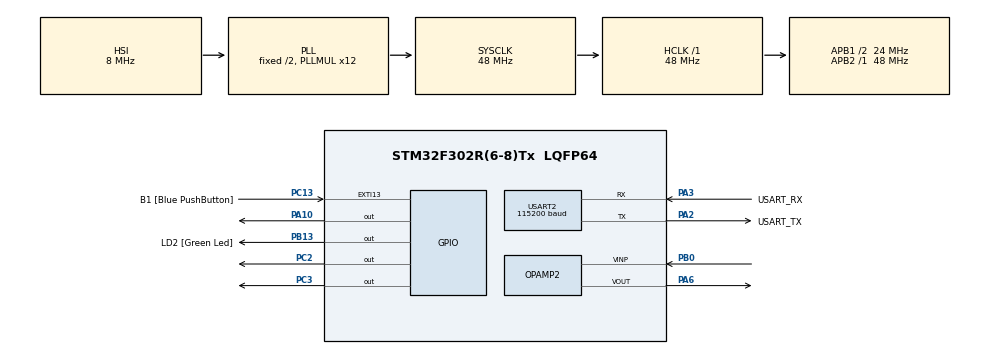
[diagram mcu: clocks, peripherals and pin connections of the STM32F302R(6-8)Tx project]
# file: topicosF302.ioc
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ADC1.Channel-0\#ChannelRegularConversion=ADC_CHANNEL_10
ADC1.ContinuousConvMode=DISABLE
ADC1.DMAContinuousRequests=DISABLE
ADC1.ExternalTrigConv=ADC_EXTERNALTRIGCONV_T1_TRGO
ADC1.NbrOfConversionFlag=1
ADC1.Offset-0\#ChannelRegularConversion=0
ADC1.OffsetNumber-0\#ChannelRegularConversion=ADC_OFFSET_NONE
ADC1.Rank-0\#ChannelRegularConversion=1
ADC1.SamplingTime-0\#ChannelRegularConversion=ADC_SAMPLETIME_19CYCLES_5
ADC1.SubFamily=STM32F302x8
ADC1.master=1
Dma.ADC1.0.Direction=DMA_PERIPH_TO_MEMORY
Dma.ADC1.0.Instance=DMA1_Channel1
Dma.ADC1.0.MemDataAlignment=DMA_MDATAALIGN_HALFWORD
Dma.ADC1.0.MemInc=DMA_MINC_ENABLE
Dma.ADC1.0.Mode=DMA_NORMAL
Dma.ADC1.0.PeriphDataAlignment=DMA_PDATAALIGN_HALFWORD
Dma.ADC1.0.PeriphInc=DMA_PINC_DISABLE
Dma.ADC1.0.Priority=DMA_PRIORITY_LOW
Dma.Request0=ADC1
Mcu.Family=STM32F3
Mcu.Name=STM32F302R(6-8)Tx
Mcu.Package=LQFP64
NVIC.DMA1_Channel1_IRQn=true\:0\:0\:false\:false\:true\:false\:true\:true
NVIC.PriorityGroup=NVIC_PRIORITYGROUP_0
NVIC.TIM2_IRQn=true\:0\:0\:false\:false\:true\:true\:true\:true
NVIC.USART2_IRQn=true\:0\:0\:false\:false\:true\:true\:true\:true
PA10.GPIO_Speed=GPIO_SPEED_FREQ_HIGH
PA10.PinState=GPIO_PIN_RESET
PA10.Signal=GPIO_Output
PA13.GPIO_Label=TMS
PA13.Mode=Serial_Wire
PA13.Signal=SYS_JTMS-SWDIO
PA14.GPIO_Label=TCK
PA14.Mode=Serial_Wire
PA14.Signal=SYS_JTCK-SWCLK
PA2.GPIO_Label=USART_TX
PA2.GPIO_Mode=GPIO_MODE_AF_PP
PA2.GPIO_PuPd=GPIO_NOPULL
PA2.GPIO_Speed=GPIO_SPEED_FREQ_LOW
PA2.Mode=Asynchronous
PA2.Signal=USART2_TX
PA3.GPIO_Label=USART_RX
PA3.GPIO_Mode=GPIO_MODE_AF_PP
PA3.GPIO_PuPd=GPIO_NOPULL
PA3.GPIO_Speed=GPIO_SPEED_FREQ_LOW
PA3.Mode=Asynchronous
PA3.Signal=USART2_RX
PA6.Mode=Follower
PA6.Signal=OPAMP2_VOUT
PB0.Mode=Follower
PB0.Signal=OPAMP2_VINP
PB13.GPIO_Label=LD2 [Green Led]
PB13.Signal=GPIO_Output
PB3.GPIO_Label=SWO
PB3.Mode=Trace_Asynchronous_SW
PB3.Signal=SYS_JTDO-TRACESWO
PC13.GPIO_Label=B1 [Blue PushButton]
PC13.GPIO_ModeDefaultEXTI=GPIO_MODE_IT_FALLING
PC13.Signal=GPXTI13
PC14\ -\ OSC32_IN.Mode=LSE-External-Oscillator
PC14\ -\ OSC32_IN.Signal=RCC_OSC32_IN
PC15\ -\ OSC32_OUT.Mode=LSE-External-Oscillator
PC15\ -\ OSC32_OUT.Signal=RCC_OSC32_OUT
PC2.GPIO_Speed=GPIO_SPEED_FREQ_HIGH
PC2.Signal=GPIO_Output
PC3.GPIO_Speed=GPIO_SPEED_FREQ_HIGH
PC3.Signal=GPIO_Output
PF0-OSC_IN.Mode=HSE-External-Clock-Source
PF0-OSC_IN.Signal=RCC_OSC_IN
PF1-OSC_OUT.Signal=RCC_OSC_OUT
ProjectManager.HeapSize=0x200
ProjectManager.StackSize=0x400
ProjectManager.TargetToolchain=STM32CubeIDE
RCC.AHBFreq_Value=48000000
RCC.APB1CLKDivider=RCC_HCLK_DIV2
RCC.APB1Freq_Value=24000000
RCC.APB1TimFreq_Value=48000000
RCC.APB2Freq_Value=48000000
RCC.APB2TimFreq_Value=48000000
RCC.CortexFreq_Value=48000000
RCC.HCLKFreq_Value=48000000
RCC.HSE_VALUE=8000000
RCC.HSI_VALUE=8000000
RCC.PLLM=8
RCC.PLLMUL=RCC_PLL_MUL12
RCC.PLLN=336
RCC.PLLP=RCC_PLLP_DIV4
RCC.PLLQ=7
RCC.SYSCLKFreq_VALUE=48000000
RCC.SYSCLKSourceVirtual=RCC_SYSCLKSOURCE_PLLCLK
RCC.USBFreq_Value=48000000
TIM1.AutoReloadPreload=TIM_AUTORELOAD_PRELOAD_DISABLE
TIM1.Period=399
TIM1.Prescaler=1
TIM1.TIM_MasterOutputTrigger=TIM_TRGO_UPDATE
TIM2.Period=999
TIM2.Prescaler=47
USART2.BaudRate=115200
USART2.VirtualMode-Asynchronous=VM_ASYNC
VP_ADC1_OPAMP_OUT2.Mode=IN10-OPAMP2-Single-Ended
VP_TIM1_VS_ClockSourceINT.Mode=Internal
VP_TIM2_VS_ClockSourceINT.Mode=Internal
board=NUCLEO-F302R8

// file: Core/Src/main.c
/* USER CODE BEGIN Header */
/**
  ******************************************************************************
  * @file           : main.c
  * @brief          : Main program body
  ******************************************************************************
  * @attention
  *
  * Copyright (c) 2024 STMicroelectronics.
  * All rights reserved.
  *
  * This software is licensed under terms that can be found in the LICENSE file
  * in the root directory of this software component.
  * If no LICENSE file comes with this software, it is provided AS-IS.
  *
  ******************************************************************************
  */
/* USER CODE END Header */
#include "main.h"

/* USER CODE BEGIN Includes */
#include "string.h"
/* USER CODE END Includes */

ADC_HandleTypeDef hadc1;
DMA_HandleTypeDef hdma_adc1;

OPAMP_HandleTypeDef hopamp2;

TIM_HandleTypeDef htim1;
TIM_HandleTypeDef htim2;

UART_HandleTypeDef huart2;

/* USER CODE BEGIN PV */
typedef enum {ACSINE_CHK, BAT_CHK, PANEL_CHK}StateMachine_CHECK;
StateMachine_CHECK State_CHECK;

#define LEN_BUFFER 1000
volatile uint16_t adcBuffer[LEN_BUFFER];
volatile int BATBuffer, PANELBuffer;
volatile uint8_t DMA_FLAG;
volatile uint8_t CONV_START;
volatile uint16_t VMAX;
volatile uint8_t REG_STATUS = 0x0;
int ACSINE_VMIN = 3350;
int ACSINE_VMAX = 3860;
int BAT_VMIN = 2000;
int PANEL_VMIN = 2500;

typedef enum{AC, BAT, PANEL, NC}StateMachine_POWER;
StateMachine_POWER State_POWER = NC;

typedef enum{PRESET_1, PRESET_2, PRESET_3, PRESET_4, PRESET_5, PRESET_6}StateMachine_PRESET;
StateMachine_PRESET State_PRESET;
#define AC_AVAILABLE     (REG_STATUS & (1 << 0))  // Verifica se o bit 0 indica AC disponível
#define BAT_AVAILABLE    (REG_STATUS & (1 << 1))  // Verifica se o bit 1 indica Bateria disponível
#define PANEL_AVAILABLE  (REG_STATUS & (1 << 2))  // Verifica se o bit 2 indica Painel disponível

volatile int SW_Time;

typedef enum{IDLE, DBC, PRES}StateMachine_BUTTON;
StateMachine_BUTTON State_BUTTON;
#define READ_BUTTON (GPIOC->IDR &(1 << 13))
volatile uint8_t BUTTON_Time;
uint8_t POWER_Control;

/* USER CODE END PV */

void SystemClock_Config(void);
static void MX_GPIO_Init(void);
static void MX_DMA_Init(void);
static void MX_USART2_UART_Init(void);
static void MX_ADC1_Init(void);
static void MX_TIM1_Init(void);
static void MX_OPAMP2_Init(void);
static void MX_TIM2_Init(void);

/* USER CODE BEGIN 0 */

//volatile uint16_t index_buffer = 0;
char rxBuffer[50];
//char uartBuffer[10000];
//int length = 0;
void HAL_UART_RxCpltCallback(UART_HandleTypeDef *huart);
int preset;
int vmin_ac, vmax_ac, vmin_bat;
int dados;
void HAL_UART_RxCpltCallback(UART_HandleTypeDef *huart) {
	if (huart->Instance == USART2) {
		// Usa sscanf para extrair os dados formatados da string
		  dados = sscanf(rxBuffer, "%d-%d-%d-%d", &preset, &vmin_ac, &vmax_ac, &vmin_bat);
		  if(dados == 4){
			  State_PRESET = preset;
			  ACSINE_VMIN = vmin_ac;
			  ACSINE_VMAX = vmax_ac;
			  BAT_VMIN = vmin_bat;
		  }
		// Agora as variáveis preset, vmin_ac, vmax_ac e vmin_bat contêm os valores
		// Reinicia a recepção de 3 bytes pela UART em modo de interrupção
		}
		HAL_UART_Receive_IT(&huart2, rxBuffer, 19);
	}

/*
void HAL_UART_RxCpltCallback(UART_HandleTypeDef *huart) {
    if (huart->Instance == USART2) {
        if (rxBuffer[0] == '#' && rxBuffer[1] == 'B' && rxBuffer[2] == '.') {
            // Converter os valores do vetor para uma string com índices
            int length = 0;
            for (int i = 0; i < LEN_BUFFER; i++) {
                length += sprintf(&uartBuffer[length], "%d\r\n", adcBuffer[i]);
            }

            // Transmitir a string via UART
            HAL_UART_Transmit(&huart2, (uint8_t*)uartBuffer, length, HAL_MAX_DELAY);
        }
        length = 0;
        // Reinicia a recepção de 3 bytes pela UART em modo de interrupção
        HAL_UART_Receive_IT(&huart2, rxBuffer, 3);
    }
}
*/
/* USER CODE END 0 */

int main(void)
{

  /* MCU Configuration--------------------------------------------------------*/

  /* Reset of all peripherals, Initializes the Flash interface and the Systick. */
  HAL_Init();

  /* Configure the system clock */
  SystemClock_Config();

  /* Initialize all configured peripherals */
  MX_GPIO_Init();
  MX_DMA_Init();
  MX_USART2_UART_Init();
  MX_ADC1_Init();
  MX_TIM1_Init();
  MX_OPAMP2_Init();
  MX_TIM2_Init();
  /* USER CODE BEGIN 2 */
  HAL_TIM_Base_Start(&htim1);
  HAL_OPAMP_Start(&hopamp2);
  HAL_ADC_Start_DMA (&hadc1, (uint32_t*)adcBuffer, LEN_BUFFER); // Inicia o DMA.
  HAL_UART_Receive_IT(&huart2, rxBuffer, 19);
  GPIOB->MODER |= (0b11 << 28);
  GPIOA->MODER |= (0b11 << 14);

  GPIOA->ODR |= (1 << 10); // Configura os pinos como 1
  GPIOB->ODR |= (1 << 3);  //pois estao em dreno aberto
  GPIOB->ODR |= (1 << 5);
  GPIOA->OSPEEDR |= (0b11 << 20); // PA10 em 50MHz
  GPIOA->MODER |= (1 << 20); // PA10 como saida
  GPIOA->OTYPER |= (1 << 10); // PA10 Dreno Aberto

  GPIOB->OSPEEDR |= (0b11 << 6); // PB3 em 50MHz
  GPIOB->MODER &= ~(1 << 7);
  GPIOB->MODER |= (1 << 6); // PB3 como saida
  GPIOB->OTYPER |= (1 << 3); // PB3 dreno aberto

  GPIOB->OSPEEDR |= (0b11 << 10); //PB5 em 50MHz
  GPIOB->MODER |= (1 << 10); // PB5 como saida
  GPIOB->OTYPER |= (1 << 5); // PB5 Dreno Aberto

  GPIOB->OSPEEDR |= (0b11 << 26); // Configura a saida do LED
  GPIOB->MODER |= (1 << 26); // Coloca saida como Push-Pull

  GPIOC->MODER &= ~(0b11 << 26);
  GPIOC->PUPDR &= ~(0b11 << 26);
  GPIOC->PUPDR |= (1 << 26);
  GPIOC->ODR |= (1 << 13);

  HAL_TIM_Base_Start(&htim2);
  NVIC_EnableIRQ(TIM2_IRQn);
  TIM2->DIER |= (1 << 0);
  /* USER CODE END 2 */

  /* Infinite loop */
  /* USER CODE BEGIN WHILE */
  while (1)
  {
	  /* Pagina 438 Datasheet
	   * Entradas do VIP do OPAMP2:
	   * PB0 (VP2 -> 10) - Entrada AC
	   * PA7 (VP0 -> 11) - Entrada Bateria
	   * PB14 (VP3-> 01) - Entrada Painel
	   * Configuração do OPAMP2 feita pelo: OPAMP2_CSR
	   */
	  switch(State_CHECK){
	  case ACSINE_CHK: // PB0 (VP2 -> 10) - Entrada AC
		  if(CONV_START){
			  CONV_START = 0;
			  OPAMP2->CSR |= (1 << 3);
			  OPAMP2->CSR &= ~(1 << 2);
			  DMA_FLAG=0;
			  HAL_ADC_Start_DMA(&hadc1, (uint32_t*)adcBuffer, LEN_BUFFER); // Inicia uma nova amostragem
		  }
		  if(DMA_FLAG==2){ // O FLAG de controle deve ser igual a 2 porque a ISR é chamada na metade e no fim do buffer.
			  DMA_FLAG = 0;
			  //VMAX=0;
			  int VMAX_temp = 0;
			  for(int x = 0; x < LEN_BUFFER; x++){
				  if(VMAX_temp < adcBuffer[x]) VMAX_temp = adcBuffer[x];
			  }
			  if(VMAX_temp > ACSINE_VMIN && VMAX_temp < ACSINE_VMAX){
				  REG_STATUS |= (1 << 0);
				  GPIOB->ODR |= (1 << 13); // Acende o LED se o status for 1
			  }
			  else {
				  REG_STATUS &= ~(1 << 0);
				  GPIOB->ODR &= ~(1 << 13); // Apaga o LED se o status for 0
				  SW_Time = 5000;
			  }
			  VMAX = VMAX_temp;
			  State_CHECK=BAT_CHK;
			  HAL_ADC_Stop_DMA(&hadc1);
			  //ADC1->CR2 &= ~ADC1_CR2_DMA;
			  CONV_START=1; //Configura o flag para iniciar a conversão do prox estado.
		  }
		  break;
	  case BAT_CHK: // PA7 (VP0 -> 11) - Entrada Bateria
		  if(CONV_START){
		  	  CONV_START = 0;
		  	  OPAMP2->CSR |= (1 << 2);
		  	  OPAMP2->CSR |= (1 << 3);
		  	  HAL_ADC_Start(&hadc1);
		  	  HAL_ADC_PollForConversion(&hadc1, 100); // poll for conversion
		  	  BATBuffer = HAL_ADC_GetValue(&hadc1); // get the adc value
		  	  if(BATBuffer > BAT_VMIN) REG_STATUS |= (1 << 1);
		  	  else REG_STATUS &= ~(1 << 1);
		  	  State_CHECK = PANEL_CHK;
		  	  CONV_START = 1;
		  }
		  break;
	  case PANEL_CHK: // PB14 (VP3-> 01) - Entrada Painel
		  if(CONV_START){
		      CONV_START = 0;
		      OPAMP2->CSR &= ~(1 << 3);
		      OPAMP2->CSR |= (1 << 2);
		      HAL_ADC_PollForConversion(&hadc1, 100); // poll for conversion
		      PANELBuffer = HAL_ADC_GetValue(&hadc1); // get the adc value
		      if(PANELBuffer > PANEL_VMIN) REG_STATUS |= (1 << 2);
		      else REG_STATUS &= ~(1 << 2);
		      HAL_ADC_Stop(&hadc1);
		      State_CHECK = ACSINE_CHK;
		      CONV_START = 1;
		  }
		  break;
	  }

	  switch(State_POWER){
	  case AC:
		  // Pino PA10
		  GPIOB->ODR |= (1 << 3);
		  GPIOB->ODR |= (1 << 5);
		  GPIOA->ODR &= ~(1 << 10);
		  break;
	  case BAT:
		  // Pino PB3
		  GPIOB->ODR |= (1 << 5);
		  GPIOA->ODR |= (1 << 10);
		  GPIOB->ODR &= ~(1 << 3);
		  break;
	  case PANEL:
		  // Pino PB5
		  GPIOB->ODR |= (1 << 3);
		  GPIOA->ODR |= (1 << 10);
		  GPIOB->ODR &= ~(1 << 5);
		  break;
	  case NC:
		  GPIOA->ODR |= (1 << 10);
		  GPIOB->ODR |= (1 << 3);
		  GPIOB->ODR |= (1 << 5);
		  break;
	  }
	  if(POWER_Control){
	  switch (State_PRESET) {
	      case PRESET_1:  // AC > BAT > PANEL > NC
	          if (AC_AVAILABLE && SW_Time == 0) {
	              State_POWER = AC;
	          } else if (BAT_AVAILABLE) {
	              State_POWER = BAT;
	          } else if (PANEL_AVAILABLE) {
	              State_POWER = PANEL;
	          } else {
	              State_POWER = NC;  // Nenhuma fonte disponível
	          }
	          break;

	      case PRESET_2:  // AC > PANEL > BAT
	          if (AC_AVAILABLE && SW_Time == 0) {
	              State_POWER = AC;
	          } else if (PANEL_AVAILABLE) {
	              State_POWER = PANEL;
	          } else if (BAT_AVAILABLE) {
	              State_POWER = BAT;
	          } else {
	              State_POWER = NC;  // Nenhuma fonte disponível
	          }
	          break;

	      case PRESET_3:  // BAT > AC > PANEL
	          if (BAT_AVAILABLE) {
	              State_POWER = BAT;
	          } else if (AC_AVAILABLE && SW_Time == 0) {
	              State_POWER = AC;
	          } else if (PANEL_AVAILABLE) {
	              State_POWER = PANEL;
	          } else {
	              State_POWER = NC;  // Nenhuma fonte disponível
	          }
	          break;

	      case PRESET_4:  // BAT > PANEL > AC
	          if (BAT_AVAILABLE) {
	              State_POWER = BAT;
	          } else if (PANEL_AVAILABLE) {
	              State_POWER = PANEL;
	          } else if (AC_AVAILABLE && SW_Time == 0) {
	              State_POWER = AC;
	          } else {
	              State_POWER = NC;  // Nenhuma fonte disponível
	          }
	          break;

	      case PRESET_5:  // PANEL > AC > BAT
	          if (PANEL_AVAILABLE) {
	              State_POWER = PANEL;
	          } else if (AC_AVAILABLE && SW_Time == 0) {
	              State_POWER = AC;
	          } else if (BAT_AVAILABLE) {
	              State_POWER = BAT;
	          } else {
	              State_POWER = NC;  // Nenhuma fonte disponível
	          }
	          break;

	      case PRESET_6:  // PANEL > BAT > AC
	          if (PANEL_AVAILABLE) {
	              State_POWER = PANEL;
	          } else if (BAT_AVAILABLE) {
	              State_POWER = BAT;
	          } else if (AC_AVAILABLE && SW_Time == 0) {
	              State_POWER = AC;
	          } else {
	              State_POWER = NC;  // Nenhuma fonte disponível
	          }
	          break;
	  }
	  }else{
		  State_POWER=NC;
	  }

	  switch(State_BUTTON){
	  case IDLE:
		  if(READ_BUTTON==0){
			  BUTTON_Time = 40;
			  State_BUTTON = DBC;
		  }
		  break;
	  case DBC:
		  if(BUTTON_Time == 0){
			  if(READ_BUTTON == 0){
				  State_BUTTON = PRES;
				  POWER_Control = !POWER_Control;
			  }else{
				  State_BUTTON = IDLE;
			  }
		  }
		  break;
	  case PRES:
		  if(READ_BUTTON){
			  State_BUTTON = IDLE;
		  }
		  break;
	  }
    /* USER CODE END WHILE */

  }
}

void SystemClock_Config(void)
{
  RCC_OscInitTypeDef RCC_OscInitStruct = {0};
  RCC_ClkInitTypeDef RCC_ClkInitStruct = {0};
  RCC_PeriphCLKInitTypeDef PeriphClkInit = {0};

  /** Initializes the RCC Oscillators according to the specified parameters
  * in the RCC_OscInitTypeDef structure.
  */
  RCC_OscInitStruct.OscillatorType = RCC_OSCILLATORTYPE_HSI;
  RCC_OscInitStruct.HSIState = RCC_HSI_ON;
  RCC_OscInitStruct.HSICalibrationValue = RCC_HSICALIBRATION_DEFAULT;
  RCC_OscInitStruct.PLL.PLLState = RCC_PLL_ON;
  RCC_OscInitStruct.PLL.PLLSource = RCC_PLLSOURCE_HSI;
  RCC_OscInitStruct.PLL.PLLMUL = RCC_PLL_MUL12;
  if (HAL_RCC_OscConfig(&RCC_OscInitStruct) != HAL_OK)
  {
    Error_Handler();
  }

  /** Initializes the CPU, AHB and APB buses clocks
  */
  RCC_ClkInitStruct.ClockType = RCC_CLOCKTYPE_HCLK|RCC_CLOCKTYPE_SYSCLK
                              |RCC_CLOCKTYPE_PCLK1|RCC_CLOCKTYPE_PCLK2;
  RCC_ClkInitStruct.SYSCLKSource = RCC_SYSCLKSOURCE_PLLCLK;
  RCC_ClkInitStruct.AHBCLKDivider = RCC_SYSCLK_DIV1;
  RCC_ClkInitStruct.APB1CLKDivider = RCC_HCLK_DIV2;
  RCC_ClkInitStruct.APB2CLKDivider = RCC_HCLK_DIV1;

  if (HAL_RCC_ClockConfig(&RCC_ClkInitStruct, FLASH_LATENCY_1) != HAL_OK)
  {
    Error_Handler();
  }
  PeriphClkInit.PeriphClockSelection = RCC_PERIPHCLK_TIM1|RCC_PERIPHCLK_ADC1;
  PeriphClkInit.Tim1ClockSelection = RCC_TIM1CLK_HCLK;
  PeriphClkInit.Adc1ClockSelection = RCC_ADC1PLLCLK_DIV1;

  if (HAL_RCCEx_PeriphCLKConfig(&PeriphClkInit) != HAL_OK)
  {
    Error_Handler();
  }
}

static void MX_ADC1_Init(void)
{

  ADC_ChannelConfTypeDef sConfig = {0};

  /** Common config
  */
  hadc1.Instance = ADC1;
  hadc1.Init.ClockPrescaler = ADC_CLOCK_ASYNC_DIV1;
  hadc1.Init.Resolution = ADC_RESOLUTION_12B;
  hadc1.Init.ScanConvMode = ADC_SCAN_DISABLE;
  hadc1.Init.ContinuousConvMode = DISABLE;
  hadc1.Init.DiscontinuousConvMode = DISABLE;
  hadc1.Init.ExternalTrigConvEdge = ADC_EXTERNALTRIGCONVEDGE_RISING;
  hadc1.Init.ExternalTrigConv = ADC_EXTERNALTRIGCONV_T1_TRGO;
  hadc1.Init.DataAlign = ADC_DATAALIGN_RIGHT;
  hadc1.Init.NbrOfConversion = 1;
  hadc1.Init.DMAContinuousRequests = DISABLE;
  hadc1.Init.EOCSelection = ADC_EOC_SINGLE_CONV;
  hadc1.Init.LowPowerAutoWait = DISABLE;
  hadc1.Init.Overrun = ADC_OVR_DATA_OVERWRITTEN;
  if (HAL_ADC_Init(&hadc1) != HAL_OK)
  {
    Error_Handler();
  }

  /** Configure Regular Channel
  */
  sConfig.Channel = ADC_CHANNEL_10;
  sConfig.Rank = ADC_REGULAR_RANK_1;
  sConfig.SingleDiff = ADC_SINGLE_ENDED;
  sConfig.SamplingTime = ADC_SAMPLETIME_19CYCLES_5;
  sConfig.OffsetNumber = ADC_OFFSET_NONE;
  sConfig.Offset = 0;
  if (HAL_ADC_ConfigChannel(&hadc1, &sConfig) != HAL_OK)
  {
    Error_Handler();
  }

}

static void MX_OPAMP2_Init(void)
{

  hopamp2.Instance = OPAMP2;
  hopamp2.Init.Mode = OPAMP_FOLLOWER_MODE;
  hopamp2.Init.NonInvertingInput = OPAMP_NONINVERTINGINPUT_IO2;
  hopamp2.Init.TimerControlledMuxmode = OPAMP_TIMERCONTROLLEDMUXMODE_DISABLE;
  hopamp2.Init.UserTrimming = OPAMP_TRIMMING_FACTORY;
  if (HAL_OPAMP_Init(&hopamp2) != HAL_OK)
  {
    Error_Handler();
  }

}

static void MX_TIM1_Init(void)
{

  TIM_ClockConfigTypeDef sClockSourceConfig = {0};
  TIM_MasterConfigTypeDef sMasterConfig = {0};

  htim1.Instance = TIM1;
  htim1.Init.Prescaler = 1;
  htim1.Init.CounterMode = TIM_COUNTERMODE_UP;
  htim1.Init.Period = 399;
  htim1.Init.ClockDivision = TIM_CLOCKDIVISION_DIV1;
  htim1.Init.RepetitionCounter = 0;
  htim1.Init.AutoReloadPreload = TIM_AUTORELOAD_PRELOAD_DISABLE;
  if (HAL_TIM_Base_Init(&htim1) != HAL_OK)
  {
    Error_Handler();
  }
  sClockSourceConfig.ClockSource = TIM_CLOCKSOURCE_INTERNAL;
  if (HAL_TIM_ConfigClockSource(&htim1, &sClockSourceConfig) != HAL_OK)
  {
    Error_Handler();
  }
  sMasterConfig.MasterOutputTrigger = TIM_TRGO_UPDATE;
  sMasterConfig.MasterOutputTrigger2 = TIM_TRGO2_RESET;
  sMasterConfig.MasterSlaveMode = TIM_MASTERSLAVEMODE_DISABLE;
  if (HAL_TIMEx_MasterConfigSynchronization(&htim1, &sMasterConfig) != HAL_OK)
  {
    Error_Handler();
  }

}

static void MX_TIM2_Init(void)
{

  TIM_ClockConfigTypeDef sClockSourceConfig = {0};
  TIM_MasterConfigTypeDef sMasterConfig = {0};

  htim2.Instance = TIM2;
  htim2.Init.Prescaler = 47;
  htim2.Init.CounterMode = TIM_COUNTERMODE_UP;
  htim2.Init.Period = 999;
  htim2.Init.ClockDivision = TIM_CLOCKDIVISION_DIV1;
  htim2.Init.AutoReloadPreload = TIM_AUTORELOAD_PRELOAD_DISABLE;
  if (HAL_TIM_Base_Init(&htim2) != HAL_OK)
  {
    Error_Handler();
  }
  sClockSourceConfig.ClockSource = TIM_CLOCKSOURCE_INTERNAL;
  if (HAL_TIM_ConfigClockSource(&htim2, &sClockSourceConfig) != HAL_OK)
  {
    Error_Handler();
  }
  sMasterConfig.MasterOutputTrigger = TIM_TRGO_RESET;
  sMasterConfig.MasterSlaveMode = TIM_MASTERSLAVEMODE_DISABLE;
  if (HAL_TIMEx_MasterConfigSynchronization(&htim2, &sMasterConfig) != HAL_OK)
  {
    Error_Handler();
  }

}

static void MX_USART2_UART_Init(void)
{

  huart2.Instance = USART2;
  huart2.Init.BaudRate = 115200;
  huart2.Init.WordLength = UART_WORDLENGTH_8B;
  huart2.Init.StopBits = UART_STOPBITS_1;
  huart2.Init.Parity = UART_PARITY_NONE;
  huart2.Init.Mode = UART_MODE_TX_RX;
  huart2.Init.HwFlowCtl = UART_HWCONTROL_NONE;
  huart2.Init.OverSampling = UART_OVERSAMPLING_16;
  huart2.Init.OneBitSampling = UART_ONE_BIT_SAMPLE_DISABLE;
  huart2.AdvancedInit.AdvFeatureInit = UART_ADVFEATURE_NO_INIT;
  if (HAL_UART_Init(&huart2) != HAL_OK)
  {
    Error_Handler();
  }

}

static void MX_DMA_Init(void)
{

  /* DMA controller clock enable */
  __HAL_RCC_DMA1_CLK_ENABLE();

  /* DMA interrupt init */
  /* DMA1_Channel1_IRQn interrupt configuration */
  HAL_NVIC_SetPriority(DMA1_Channel1_IRQn, 0, 0);
  HAL_NVIC_EnableIRQ(DMA1_Channel1_IRQn);

}

static void MX_GPIO_Init(void)
{
  GPIO_InitTypeDef GPIO_InitStruct = {0};

  /* GPIO Ports Clock Enable */
  __HAL_RCC_GPIOC_CLK_ENABLE();
  __HAL_RCC_GPIOF_CLK_ENABLE();
  __HAL_RCC_GPIOA_CLK_ENABLE();
  __HAL_RCC_GPIOB_CLK_ENABLE();

  /*Configure GPIO pin Output Level */
  HAL_GPIO_WritePin(GPIOC, GPIO_PIN_2|GPIO_PIN_3, GPIO_PIN_RESET);

  /*Configure GPIO pin Output Level */
  HAL_GPIO_WritePin(LD2_GPIO_Port, LD2_Pin, GPIO_PIN_RESET);

  /*Configure GPIO pin Output Level */
  HAL_GPIO_WritePin(GPIOA, GPIO_PIN_10, GPIO_PIN_RESET);

  /*Configure GPIO pin : B1_Pin */
  GPIO_InitStruct.Pin = B1_Pin;
  GPIO_InitStruct.Mode = GPIO_MODE_IT_FALLING;
  GPIO_InitStruct.Pull = GPIO_NOPULL;
  HAL_GPIO_Init(B1_GPIO_Port, &GPIO_InitStruct);

  /*Configure GPIO pins : PC2 PC3 */
  GPIO_InitStruct.Pin = GPIO_PIN_2|GPIO_PIN_3;
  GPIO_InitStruct.Mode = GPIO_MODE_OUTPUT_PP;
  GPIO_InitStruct.Pull = GPIO_NOPULL;
  GPIO_InitStruct.Speed = GPIO_SPEED_FREQ_HIGH;
  HAL_GPIO_Init(GPIOC, &GPIO_InitStruct);

  /*Configure GPIO pin : LD2_Pin */
  GPIO_InitStruct.Pin = LD2_Pin;
  GPIO_InitStruct.Mode = GPIO_MODE_OUTPUT_PP;
  GPIO_InitStruct.Pull = GPIO_NOPULL;
  GPIO_InitStruct.Speed = GPIO_SPEED_FREQ_LOW;
  HAL_GPIO_Init(LD2_GPIO_Port, &GPIO_InitStruct);

  /*Configure GPIO pin : PA10 */
  GPIO_InitStruct.Pin = GPIO_PIN_10;
  GPIO_InitStruct.Mode = GPIO_MODE_OUTPUT_PP;
  GPIO_InitStruct.Pull = GPIO_NOPULL;
  GPIO_InitStruct.Speed = GPIO_SPEED_FREQ_HIGH;
  HAL_GPIO_Init(GPIOA, &GPIO_InitStruct);

}

void Error_Handler(void)
{
  __disable_irq();
  while (1)
  {
  }
}
